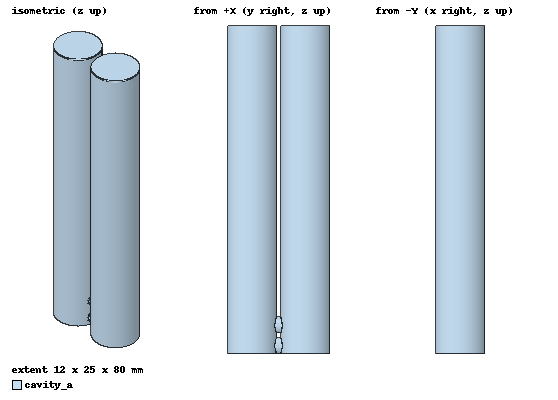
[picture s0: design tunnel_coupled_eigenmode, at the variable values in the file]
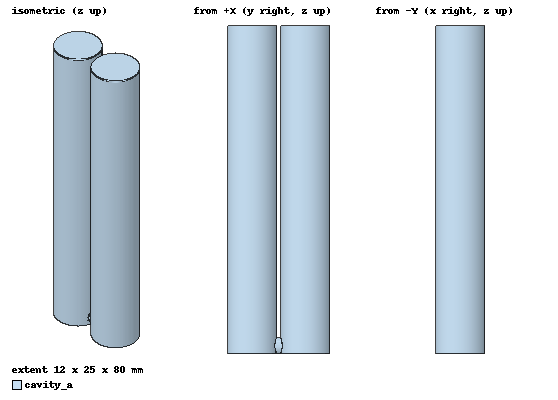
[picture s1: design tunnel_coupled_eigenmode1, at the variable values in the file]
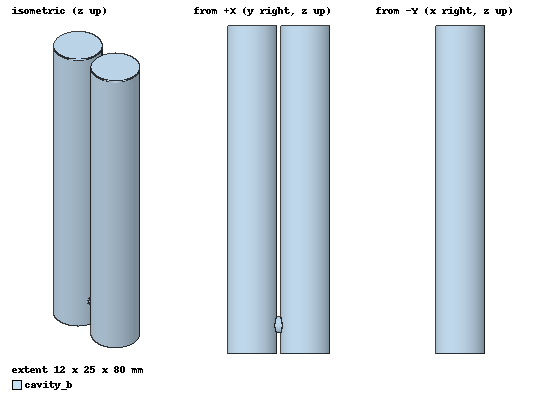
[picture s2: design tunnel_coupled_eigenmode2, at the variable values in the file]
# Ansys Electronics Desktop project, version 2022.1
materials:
  vacuum: permittivity=1

design tunnel_coupled_eigenmode (HFSS, Eigenmode, model units mm)
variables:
  r_post_b = 2mm
  h_post_b = 8mm
  ab_offset = 1mm
  r_cav_b = 6mm
  h_cav_b = 80mm
  r_cav_a = 6mm
  h_cav_a = 80mm
  r_post_a = 2mm
  h_post_a = 8mm
  r_tunnel = 2mm
  z_tunnel_offset = 0mm
  z_tunnel_offset_2 = 5mm
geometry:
  post_b = cylinder(axis=Z, base_centre=(0mm, -r_cav_a-ab_offset/2, 0mm), radius=r_post_a, height=h_post_a)
  cavity_b = cylinder(axis=Z, base_centre=(0mm, -r_cav_b - ab_offset/2, 0mm), radius=r_cav_b, height=h_cav_b)
  cavity_a [vacuum] = cylinder(axis=Z, base_centre=(0mm, r_cav_b + ab_offset/2, 0mm), radius=r_cav_a, height=h_cav_a)
  post_a = cylinder(axis=Z, base_centre=(0mm, r_cav_b+ab_offset/2, 0mm), radius=r_post_b, height=h_post_b)
  cavity_b.subtract(post_b)
  cavity_a.subtract(post_a)
  tunnel = cylinder(axis=Y, base_centre=(0mm, -ab_offset/2 - 1mm, z_tunnel_offset+r_tunnel), radius=r_tunnel, height=ab_offset + 2mm)
  cavity_a.unite(cavity_b, tunnel)
  tunnel1 = cylinder(axis=Y, base_centre=(0mm, -ab_offset/2 - 1mm, z_tunnel_offset_2+r_tunnel), radius=r_tunnel, height=ab_offset + 2mm)
  cavity_a.unite(tunnel1)
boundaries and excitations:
  Imped1: Impedance Faces=cavity_a.face(3 of 3, 3 of 3) Resistance=377 Reactance=0
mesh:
  cavity_wall_mesh: LengthBased Faces=cavity_a.face(1 of 3, 1 of 3) MaxLength="r_cav_b + r_cav_a"
  bottom_cavity_mesh: LengthBased Faces=cavity_a.face(2 of 3, 2 of 3) MaxLength="r_cav_a - r_post_a"
  post_mesh: LengthBased Faces=cavity_a.face(at (2, 6.5, 4), #49) MaxLength="r_post_a / 2"
  post_top_mesh: LengthBased Faces=cavity_a.face(at (0, 6.5, 8), #50) MaxLength="r_post_a / 4"
  tunnel_wall_mesh: LengthBased Faces=cavity_a.face(1 of 3) MaxLength="r_tunnel / 2"
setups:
  Setup1: HfssEigen MinimumFrequency=2.14286GHz NumModes=2 MaxDeltaFreq=0.01 ConvergeOnRealFreq=true MaximumPasses=30 MinimumPasses=1 MinimumConvergedPasses=1 PercentRefinement=30 BasisOrder=-1
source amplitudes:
  #-10:1: 1 0deg
  #-10:2: 0 0deg
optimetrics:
  r_tunnel_x_z_offset_sweep: Parametric Sim._Setups=[Setup1]
    sweep r_tunnel: LIN 1mm 3mm 0.25mm
    sweep z_tunnel_offset: LIN 0mm 10mm 1mm
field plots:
  Vector_E1: E Field in cavity_a on Setup1 : LastAdaptive at Phase=0deg
  Vector_H1: H Field in cavity_a on Setup1 : LastAdaptive at Phase=90deg
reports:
  Eigen Modes Plot 1: re(Mode(1)), re(Mode(2)) vs z_tunnel_offset on Setup1 : LastAdaptive [r_tunnel=all]
  Solution Convergence Plot 1: MaxDeltaFreq vs Pass on Setup1 : AdaptivePass [r_tunnel=all z_tunnel_offset=all]

design tunnel_coupled_eigenmode1 (HFSS, Eigenmode, model units mm)
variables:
  r_post_b = 2mm
  h_post_b = 8mm
  ab_offset = 1mm
  r_cav_b = 6mm
  h_cav_b = 80mm
  r_cav_a = 6mm
  h_cav_a = 80mm
  r_post_a = 2mm
  h_post_a = 8mm
  r_tunnel = 2mm
  z_tunnel_offset = 0mm
  z_tunnel_offset_2 = 5mm
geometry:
  post_b = cylinder(axis=Z, base_centre=(0mm, -r_cav_a-ab_offset/2, 0mm), radius=r_post_a, height=h_post_a)
  cavity_b = cylinder(axis=Z, base_centre=(0mm, -r_cav_b - ab_offset/2, 0mm), radius=r_cav_b, height=h_cav_b)
  cavity_a [vacuum] = cylinder(axis=Z, base_centre=(0mm, r_cav_b + ab_offset/2, 0mm), radius=r_cav_a, height=h_cav_a)
  post_a = cylinder(axis=Z, base_centre=(0mm, r_cav_b+ab_offset/2, 0mm), radius=r_post_b, height=h_post_b)
  cavity_b.subtract(post_b)
  cavity_a.subtract(post_a)
  tunnel = cylinder(axis=Y, base_centre=(0mm, -ab_offset/2 - 1mm, z_tunnel_offset+r_tunnel), radius=r_tunnel, height=ab_offset + 2mm)
  cavity_a.unite(cavity_b, tunnel)
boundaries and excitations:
  Imped1: Impedance Faces=cavity_a.face(3 of 3, 3 of 3) Resistance=377 Reactance=0
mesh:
  cavity_wall_mesh: LengthBased Faces=cavity_a.face(1 of 3, 1 of 3) MaxLength="r_cav_b + r_cav_a"
  bottom_cavity_mesh: LengthBased Faces=cavity_a.face(2 of 3, 2 of 3) MaxLength="r_cav_a - r_post_a"
  post_mesh: LengthBased Faces=cavity_a.face(at (2, 6.5, 4), #49) MaxLength="r_post_a / 2"
  post_top_mesh: LengthBased Faces=cavity_a.face(at (0, 6.5, 8), #50) MaxLength="r_post_a / 4"
  tunnel_wall_mesh: LengthBased Faces=cavity_a.face(1 of 3) MaxLength="r_tunnel / 2"
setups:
  Setup1: HfssEigen MinimumFrequency=2.14286GHz NumModes=2 MaxDeltaFreq=0.01 ConvergeOnRealFreq=true MaximumPasses=30 MinimumPasses=1 MinimumConvergedPasses=1 PercentRefinement=30 BasisOrder=-1
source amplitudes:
  #-10:1: 1 0deg
  #-10:2: 0 0deg
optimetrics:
  r_tunnel_x_z_offset_sweep: Parametric Sim._Setups=[Setup1]
    sweep r_tunnel: LIN 1mm 3mm 0.25mm
    sweep z_tunnel_offset: LIN 0mm 10mm 1mm
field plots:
  Vector_E1: E Field in cavity_a on Setup1 : LastAdaptive at Phase=0deg
  Vector_H1: H Field in cavity_a on Setup1 : LastAdaptive at Phase=90deg
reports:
  Eigen Modes Plot 1: re(Mode(1)), re(Mode(2)) vs z_tunnel_offset on Setup1 : LastAdaptive [r_tunnel=all]
  Solution Convergence Plot 1: MaxDeltaFreq vs Pass on Setup1 : AdaptivePass [r_tunnel=all z_tunnel_offset=all]

design tunnel_coupled_eigenmode2 (HFSS, Eigenmode, model units mm)
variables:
  r_post_b = 2mm
  h_post_b = 8mm
  ab_offset = 1mm
  r_cav_b = 6mm
  h_cav_b = 80mm
  r_cav_a = 6mm
  h_cav_a = 80mm
  r_post_a = 2mm
  h_post_a = 8mm
  r_tunnel = 2mm
  z_tunnel_offset = 0mm
  z_tunnel_offset_2 = 5mm
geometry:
  post_b = cylinder(axis=Z, base_centre=(0mm, -r_cav_a-ab_offset/2, 0mm), radius=r_post_a, height=h_post_a)
  cavity_b [vacuum] = cylinder(axis=Z, base_centre=(0mm, -r_cav_b - ab_offset/2, 0mm), radius=r_cav_b, height=h_cav_b)
  cavity_a = cylinder(axis=Z, base_centre=(0mm, r_cav_b + ab_offset/2, 0mm), radius=r_cav_a, height=h_cav_a)
  post_a = cylinder(axis=Z, base_centre=(0mm, r_cav_b+ab_offset/2, 0mm), radius=r_post_b, height=h_post_b)
  cavity_b.subtract(post_b)
  cavity_a.subtract(post_a)
  tunnel1 = cylinder(axis=Y, base_centre=(0mm, -ab_offset/2 - 1mm, z_tunnel_offset_2+r_tunnel), radius=r_tunnel, height=ab_offset + 2mm)
  cavity_a.unite(tunnel1)
  cavity_b.unite(cavity_a)
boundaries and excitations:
  Imped1: Impedance Faces=cavity_b.face(3 of 3, 3 of 3) Resistance=377 Reactance=0
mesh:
  cavity_wall_mesh: LengthBased Faces=cavity_b.face(1 of 3, 1 of 3) MaxLength="r_cav_b + r_cav_a"
  bottom_cavity_mesh: LengthBased Faces=cavity_b.face(2 of 3, 2 of 3) MaxLength="r_cav_a - r_post_a"
  post_mesh: LengthBased Faces=cavity_b.face(#56, at (2, -6.5, 4)) MaxLength="r_post_a / 2"
  post_top_mesh: LengthBased Faces=cavity_b.face(#57, at (0, -6.5, 8)) MaxLength="r_post_a / 4"
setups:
  Setup1: HfssEigen MinimumFrequency=2.14286GHz NumModes=2 MaxDeltaFreq=0.01 ConvergeOnRealFreq=true MaximumPasses=30 MinimumPasses=1 MinimumConvergedPasses=1 PercentRefinement=30 BasisOrder=-1
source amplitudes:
  #-10:1: 1 0deg
  #-10:2: 0 0deg
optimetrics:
  r_tunnel_x_z_offset_sweep: Parametric Sim._Setups=[Setup1]
    sweep r_tunnel: LIN 1mm 3mm 0.25mm
    sweep z_tunnel_offset: LIN 0mm 10mm 1mm
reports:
  Eigen Modes Plot 1: re(Mode(1)), re(Mode(2)) vs z_tunnel_offset on Setup1 : LastAdaptive [r_tunnel=all]
  Solution Convergence Plot 1: MaxDeltaFreq vs Pass on Setup1 : AdaptivePass [r_tunnel=all z_tunnel_offset=all]
